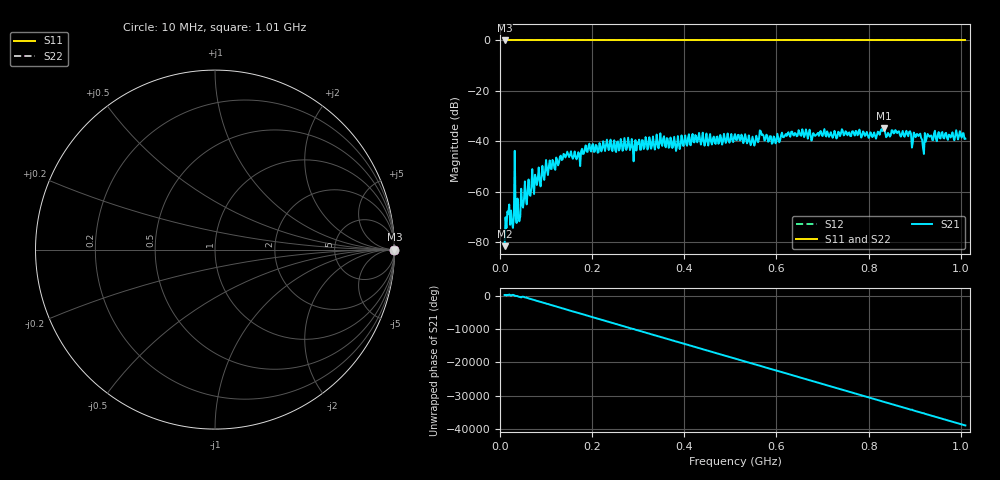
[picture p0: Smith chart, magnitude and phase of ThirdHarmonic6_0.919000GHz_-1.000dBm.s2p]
! 8/16/2025 6:02:10 AM
! C:\ANRITSUVNA\TEMP\TEMP.S2P
! CHANNEL.1
! TR.MEASUREMENT
! RAW.DATA
! RF.CORRECTION.OFF
! AVERAGING.OFF
! IF.BANDWIDTH: 5KHZ
! SWEEPTYPE:  FREQ.SWEEP(Linear)
! Reference Plane Port Info
! PORT:  PORT1  PORT2
! DISTANCE:  0  m  0  m
! TIME:  0  s  0  s
! PHASE.OFFSET:  0  deg.  0  deg.
! LOSS:  0  dB  0  dB
! REF.LOSS:  0  dB  0  dB
! REF.FREQ:  0  Hz  0  Hz
! Power Info
! POWER:  -20  dBm  -20  dBm
! EFF.POWER:  -20  dBm  -20  dBm
! SOURCE.ATTEN:  0  dB  0  dB
! TEST.ATTEN:  0  dB  0  dB
# GHZ S RI R 50.0
! FREQ.GHZ  S11RE  S11IM  S21RE  S21IM  S12RE  S12IM  S22RE  S22IM
!; PortSelection: Port_12
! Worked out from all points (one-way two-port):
!   501 points, 10 MHz to 1.01 GHz, reference 50 ohm
!   highest |S21| = -34.81 dB at 834 MHz (marker M1); lowest = -81.5 dB at 10 MHz (marker M2)
!   lowest |S11| = 0.0 dB at 10 MHz (marker M3)
!   |S11| at or under -10 dB: nowhere
!   |S22| runs from 0.0 to 0.0 dB; largest |S21 - S12| = 1
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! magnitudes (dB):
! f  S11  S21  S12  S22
! 10 MHz  0.0  -81.5  0.0  0.0
! 16 MHz  0.0  -67.8  0.0  0.0
! 26 MHz  0.0  -71.9  0.0  0.0
! 28 MHz  0.0  -74.3  0.0  0.0
! 36 MHz  0.0  -72.4  0.0  0.0
! 38 MHz  0.0  -62.7  0.0  0.0
! 40 MHz  0.0  -69.7  0.0  0.0
! 50 MHz  0.0  -66.3  0.0  0.0
! 80 MHz  0.0  -57.3  0.0  0.0
! 142 MHz  0.0  -46.4  0.0  0.0
! 178 MHz  0.0  -43.0  0.0  0.0
! 198 MHz  0.0  -44.0  0.0  0.0
! 292 MHz  0.0  -41.8  0.0  0.0
! 344 MHz  0.0  -42.8  0.0  0.0
! 510 MHz  0.0  -37.1  0.0  0.0
! 678 MHz  0.0  -38.4  0.0  0.0
! 834 MHz  0.0  -34.8  0.0  0.0
! 844 MHz  0.0  -37.2  0.0  0.0
! 908 MHz  0.0  -37.9  0.0  0.0
! 920 MHz  0.0  -45.0  0.0  0.0
! 932 MHz  0.0  -38.2  0.0  0.0
! 1.01 GHz  0.0  -38.9  0.0  0.0
